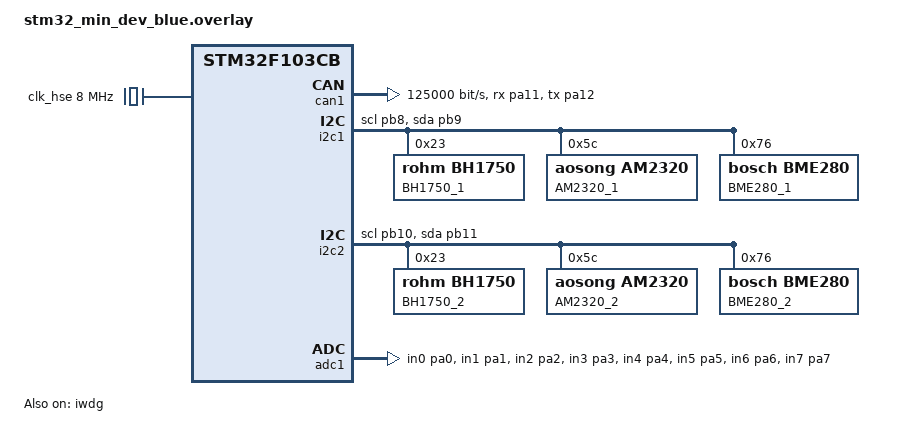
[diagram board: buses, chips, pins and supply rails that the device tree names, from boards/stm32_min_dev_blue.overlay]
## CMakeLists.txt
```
# Find Zephyr. This also loads Zephyr's build system.
cmake_minimum_required(VERSION 3.20.1)
find_package(Zephyr REQUIRED HINTS $ENV{ZEPHYR_BASE})
project(umdom_bluepill)
# Add your source file to the "app" target. This must come after
add_subdirectory(src/driver)

file(GLOB app_sources 
    src/*.c 
    src/objdict/CO_OD.c
    )

target_sources(app PRIVATE ${app_sources})
zephyr_include_directories(src/objdict)
```

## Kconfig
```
# SPDX-License-Identifier: Apache-2.0

# Your application configuration options go here


# Sources Kconfig.zephyr in the Zephyr root directory.
#
# Note: All 'source' statements work relative to the Zephyr root directory (due
# to the $srctree environment variable being set to $ZEPHYR_BASE). If you want
# to 'source' relative to the current Kconfig file instead, use 'rsource' (or a
# path relative to the Zephyr root).

config CANOPEN_NODE_ID
	int "CANopen node ID"
	default 10
	range 1 127
	help
	  7-bit CANopen Node ID

config SENSORS_UPDATE_TIME
	int "Sensors update time"
	default 1000
	help
	  Sensors update time measured in ms

config OUTPUT_UPDATE_TIME
	int "Output update time"
	default 100
	help
	  Output update time measured in ms

config ADCS_UPDATE_TIME
	int "ADCs update time"
	default 2000
	help
	  ADCs update time measured in ms

config DEBUG_LED
	bool "use PC13 LED for debug"
	default false
	help
	  PC13 LED for debug ADC AC 
      
menu "Umdom project: devices"
 rsource "src/driver/Kconfig"
endmenu

source "Kconfig.zephyr"
```

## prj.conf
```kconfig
CONFIG_SOC_STM32F103XB=y

CONFIG_CONSOLE=n

# log
CONFIG_LOG=y

# SHELL
CONFIG_SHELL=y
CONFIG_SHELL_CMDS=n
CONFIG_SHELL_STATS=n
CONFIG_SHELL_METAKEYS=n
CONFIG_SHELL_HELP=n
CONFIG_SHELL_CMD_BUFF_SIZE=128
CONFIG_SHELL_STACK_SIZE=1024
CONFIG_FLASH_MAP_SHELL=y
CONFIG_ADC_SHELL=n
CONFIG_CAN_SHELL=n
CONFIG_SHELL_BACKEND_CANOPEN=y

#SETTINGS STORAGE NVS
CONFIG_SETTINGS=y
CONFIG_FLASH=y
CONFIG_FLASH_MAP=y
CONFIG_NVS=y
CONFIG_SETTINGS_NVS=y

# DMA I2C CAN GPIO
CONFIG_GPIO=y
# CONFIG_DMA=y
CONFIG_CAN=y
CONFIG_CAN_MAX_FILTER=13
CONFIG_I2C=y

CONFIG_CANOPEN=y
CONFIG_CANOPENNODE=y
CONFIG_CANOPENNODE_SYNC_THREAD=y
CONFIG_CANOPENNODE_STORAGE=y
CONFIG_CANOPENNODE_LEDS=y
CONFIG_CANOPENNODE_LEDS_BICOLOR=y

# sensors
CONFIG_SENSOR=y
CONFIG_BME280=y
CONFIG_AM2320=y
CONFIG_BH1750=y
CONFIG_SENSORS_UPDATE_TIME=1000

# use Ac current driver
CONFIG_ADC=n
CONFIG_ADC_STM32=n
CONFIG_ADC_AC=y
CONFIG_ADC_ASYNC=y
CONFIG_ADC_STM32_AC_CURRENT=y
CONFIG_ADC_STM32_AC_CURRENT_SAMPLE_TIME=240

# boot reboot linker debug options
CONFIG_REBOOT=y
CONFIG_USE_DT_CODE_PARTITION=y
# CONFIG_DEBUG_OPTIMIZATIONS=y

#Zepthyr Kernel
CONFIG_NUM_COOP_PRIORITIES=8
CONFIG_NUM_PREEMPT_PRIORITIES=7
CONFIG_ISR_STACK_SIZE=512
CONFIG_IDLE_STACK_SIZE=128
CONFIG_MAIN_STACK_SIZE=512
# CONFIG_KERNEL_MEM_POOL=y
# CONFIG_HEAP_MEM_POOL_SIZE=128
```

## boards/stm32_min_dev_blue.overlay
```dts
/*
 * Copyright (c) 2019 Vestas Wind Systems A/S
 *
 * SPDX-License-Identifier: Apache-2.0
 */
 #include <st/f1/stm32f103XB.dtsi>
 #include <st/f1/stm32f103c(8-b)tx-pinctrl.dtsi>

/ {
	compatible = "st,stm32_min_dev_blue", "st,stm32f103cb";

	chosen {
		zephyr,can-primary = &can1;
		zephyr,code-partition = &slot0_partition;
	};

	// keys {
	// 	compatible = "gpio-keys";

	// 	key: key {
	// 		gpios = <&gpiob 12 GPIO_PULL_UP>;
	// 		label = "KEY";
	// 	};
	// };

	aliases {
		green-led = &led;
		red-led = &led;
		// sw0 = &key;
	};
};

&iwdg {
	status = "okay";
};

&clk_hse {
	clock-frequency = <DT_FREQ_M(8)>;
	status = "okay";
};

&pll {
	mul = <9>;
	clocks = <&clk_hse>;
	status = "okay";
};

&rcc {
	clocks = <&pll>;
	clock-frequency = <DT_FREQ_M(72)>;
	ahb-prescaler = <1>;
	apb1-prescaler = <2>;
	apb2-prescaler = <1>;
};

&usb {
	status = "disabled";
};

&flash0 {
	partitions {
			compatible = "fixed-partitions";
			#address-cells = <1>;
			#size-cells = <1>;

			slot0_partition: partition@0 {
				label = "image-0";
				reg = <0 0x1e000>;
			};
			// slot1_partition: partition@8010000 {
			// 	label = "image-1";
			// 	reg = <0x08010000 0x8000>;
			// };
			slot2_partition: partition@1e000 {
				label = "storage";
				reg = <0x1e000 0x2000>;
			};
	};
};

&can1 {
	pinctrl-0 = <&can_rx_pa11 &can_tx_pa12>;
	pinctrl-names = "default";
	sjw = < 1 >;
	
	prop-seg=< 0 >;
	phase-seg1= < 8 >;
	phase-seg2= < 3 >;
	// 1.000.000 pre=3  8,3
	// 800.000   pre=5  6,2
	// 500.000   pre=6  8,3
	// 250.000   pre=12 8,3
	// 125.000   pre=24 8,3
	//  50.000   pre=60 8,3
	bus-speed=<125000>;
	status = "okay";
};

&usart1 {
	status = "disabled";
};

&usart2 {
	status = "disabled";
};

&usart3 {
	status = "disabled";
};

&i2c1 {
	status = "okay";
	pinctrl-0 = <&i2c1_scl_pb8 &i2c1_sda_pb9>;
	bh1750: bh1750@23 {
		/* 0x5C - SDO <-> GND */
		/* 0x23 - SDO <-> VCC */
		compatible = "rohm,bh1750", "i2c-device";
		status = "okay";
		reg = <0x23>;
		label = "BH1750_1";
	};
	am2320: am2320@5c {
		compatible = "aosong,am2320", "i2c-device";
		status = "okay";
		reg = <0x5C>;
		label = "AM2320_1";
	};
	bme280: bme280@76 {
		/* 0x76 - SDO <-> GND */
		/* 0x77 - SDO <-> VCC */
		compatible = "bosch,bme280";
		status = "okay";
		reg = <0x76>;
		label = "BME280_1";
	};	
};

&i2c2 {
	status = "okay";
	pinctrl-0 = <&i2c2_scl_pb10 &i2c2_sda_pb11>;
	bh17501: bh1750@23 {
		/* 0x5C - SDO <-> GND */
		/* 0x23 - SDO <-> VCC */
		compatible = "rohm,bh1750", "i2c-device";
		status = "okay";
		reg = <0x23>;
		label = "BH1750_2";
	};
	am23201: am2320@5c {
		compatible = "aosong,am2320", "i2c-device";
		status = "okay";
		reg = <0x5C>;
		label = "AM2320_2";
	};
	bme2801: bme280@76 {
		/* 0x76 - SDO <-> GND */
		/* 0x77 - SDO <-> VCC */
		compatible = "bosch,bme280";
		status = "okay";
		reg = <0x76>;
		label = "BME280_2";
	};	
};

&spi1 {
	status = "disabled";
};

&spi2 {
	status = "disabled";
};

&pwm1 {
	status = "disabled";
};

&timers2 {
	status = "disabled";
};

&dma1{
	status = "disabled";
};

&adc1 {
	compatible = "st,stm32f1-adc1-ac", "st,stm32-adc";
	status = "okay";
	//dmas = < &dma1 1 1 0x22C80 0>;
	trigger = "tim2-cc2";
	pinctrl-0 = < &adc1_in0_pa0 >,
				< &adc1_in1_pa1 >,
				< &adc1_in2_pa2 >,
				< &adc1_in3_pa3 >,
				< &adc1_in4_pa4 >,
				< &adc1_in5_pa5 >,
				< &adc1_in6_pa6 >,
				< &adc1_in7_pa7 >,
				< &adc1_in8_pb0 >,
				< &adc1_in9_pb1 >;
};
```

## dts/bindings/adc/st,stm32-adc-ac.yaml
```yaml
# Copyright (c) 2018, Endre Karlson
# Copyright (c) 2018, Song Qiang <songqiang1304521@gmail.com>
# SPDX-License-Identifier: Apache-2.0

description: ST STM32F1x family ADC 50 Hz AC current mesure

compatible: "st,stm32f1-adc1-ac"

include: st,stm32-adc.yaml

properties:
    trigger:
      required: true
      type: string
      enum:
        - "tim1-cc1"
        - "tim1-cc2"
        - "tim1-cc3"
        - "tim2-cc2"
        - "tim4-cc4"
      description: |
        An external trigger is selected for ADC regular conversion, only the rising
        edge of the signal can start the conversion.  
        TIM1_CC1  event 000  tim1-cc1
        TIM1_CC2  event 001  tim1-cc2
        TIM1_CC3  event 010  tim1-cc3
        TIM2_CC2  event 011  tim2-cc2
        TIM3_TRGO event 100  tim3-trgo unsupports
        TIM4_CC4  event 101  tim4-cc4            
           trigger = "tim2-cc2";
```

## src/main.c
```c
#include <kernel.h>
#include <zephyr.h>
#include <power/reboot.h>
#include <drivers/gpio.h>
#include <drivers/i2c.h>
#include <shell/shell.h>
#include <shell/shell_uart.h>
#include <device.h>
#include <stdlib.h>
#include <devicetree.h>
#include <drivers/sensor.h>
#include <drivers/pwm.h>
#include "settings/settings.h"
#include <drivers/adc.h>
#include <kernel/thread.h>
#include <canopennode.h>
#include <drivers/watchdog.h>

#ifdef CONFIG_SHELL_BACKEND_CANOPEN
  #include "driver/shell/shell_canopen.h"
#endif
#include "process_sensor.h"
#include "process_adc.h"
#include "process_gpio.h"

#define LOG_LEVEL CONFIG_CANOPEN_LOG_LEVEL
#include <logging/log.h>
LOG_MODULE_REGISTER(app);

#if DT_HAS_COMPAT_STATUS_OKAY(st_stm32_watchdog)
#define WDT_NODE DT_INST(0, st_stm32_watchdog)
#define WDT_DEV_NAME DT_LABEL(WDT_NODE)
#else
#error "WDT not found"
#endif

#if !DT_HAS_CHOSEN(zephyr_can_primary)
# error CANopen CAN interface not set
#else 
#  define CAN_DT_NAME DT_CHOSEN(zephyr_can_primary)
#  define CAN_INTERFACE DT_LABEL(CAN_DT_NAME)
#  define CAN_BITRATE (DT_PROP(CAN_DT_NAME, bus_speed) / 1000)
#endif

static const struct device *green_led = DEVICE_DT_GET(DT_NODELABEL(gpioc));	

static void led_callback(bool value, void *arg)
{
	gpio_pin_set(green_led, 13, value);
}

void main(void)
{	
	CO_NMT_reset_cmd_t reset = CO_RESET_NOT;
	CO_ReturnError_t err;
	struct canopen_context can;
	uint16_t timeout;
	uint32_t elapsed;
	int64_t timestamp;
	const struct device *wdt;

#if (CONFIG_CANOPENNODE_LEDS || CONFIG_DEBUG_LED)  
    const struct device *led = device_get_binding("GPIOC");
	if (led == NULL) {
		/* No such node, or the node does not have status "okay". */
		LOG_ERR("GPIOC Error: no device found.");
	}
	gpio_pin_configure(led, 13, GPIO_OUTPUT_LOW);
#endif
	can.dev = device_get_binding(CAN_INTERFACE);
	if (!can.dev) {
		LOG_ERR("CAN interface not found");
		return;
	}
#ifdef CONFIG_CANOPENNODE_STORAGE
	int ret;
	ret = settings_subsys_init();
	if (ret) {
		LOG_ERR("failed to initialize settings subsystem (err = %d)", ret);
		return;
	}
	ret = settings_load();
	if (ret) {
		LOG_ERR("failed to load settings (err = %d)", ret);
		return;
	}
#endif /* CONFIG_CANOPEN_STORAGE */
	
	while (reset != CO_RESET_APP) 
	{
		elapsed =  0U; /* milliseconds */

		err = CO_init(&can, CONFIG_CANOPEN_NODE_ID, CAN_BITRATE);
		if (err != CO_ERROR_NO) {
			LOG_ERR("CO_init failed (err = %d)", err);
			return;
		}
		
		LOG_INF("CANopen stack initialized");

		#ifdef CONFIG_CANOPENNODE_STORAGE
		canopen_storage_attach(CO->SDO[0], CO->em);
		#endif /* CONFIG_CANOPEN_STORAGE */

		#if  ( CONFIG_CANOPENNODE_LEDS && !CONFIG_DEBUG_LED )
    	canopen_leds_init(CO->NMT, led_callback, NULL, NULL, NULL); 
		#endif /* CONFIG_CANOPEN_LEDS */


		#ifdef CONFIG_SHELL_BACKEND_CANOPEN
		shell_canopen_init_od();
		#endif
		sensors_init();
		adcs_init();
		gpios_init();

		CO->TPDO[4]->defaultCOB_ID = 0x1C0;
		CO->TPDO[4]->CANtxBuff->ident = 0x1C0 + CONFIG_CANOPEN_NODE_ID;
		CO->TPDO[5]->defaultCOB_ID = 0x2C0;
		CO->TPDO[5]->CANtxBuff->ident = 0x2C0 + CONFIG_CANOPEN_NODE_ID;
		CO->TPDO[6]->defaultCOB_ID = 0x3C0;
		CO->TPDO[6]->CANtxBuff->ident = 0x3C0 + CONFIG_CANOPEN_NODE_ID;

		CO_CANsetNormalMode(CO->CANmodule[0]);

		wdt = device_get_binding(WDT_DEV_NAME);
		if (wdt == NULL) {
			/* No such node, or the node does not have status "okay". */
			LOG_ERR("IWDT Error: no device found.");
		}


		while (true) {
			timeout = 1U; /* default timeout in milliseconds */
			timestamp = k_uptime_get();
			reset = CO_process(CO, (uint16_t)elapsed, &timeout);

			if (reset != CO_RESET_NOT) {
				break;
			}

			if (timeout > 0) {
				/*
				 * Try to sleep for as long as the
				 * stack requested and calculate the
				 * exact time elapsed.
				 */
				k_sleep(K_MSEC(timeout));
				uint16_t dt = (uint16_t) (k_uptime_get() - timestamp);

				if (OD_RTR)
				{
					for(uint8_t i=0; i<CO_NO_TPDO-1; i++)
					{
						CO->TPDO[i]->sendRequest = 1;
					}	
					CO_LOCK_OD();
					OD_RTR = 0;
					CO_UNLOCK_OD();
				}

				if (CO->SYNC->timer < CO->SYNC->periodTimeoutTime)
				{
					wdt_feed(wdt, 0);
					if (CO_isError(CO->em, CO_EM_SYNC_TIME_OUT))
						CO_errorReset(CO->em, CO_EM_SYNC_TIME_OUT, 0);
				}

				sensors_process(dt);
				adcs_process(dt);
				gpios_process(dt);
				#ifdef CONFIG_SHELL_BACKEND_CANOPEN
				process_shell();
				#endif

				elapsed = (uint32_t)k_uptime_delta(&timestamp);
			} else {
				/*
				 * Do not sleep, more processing to be
				 * done by the stack.
				 */
				elapsed = 0U;
			}
		} // while(true)

		if (reset == CO_RESET_COMM) {
			LOG_INF("Resetting communication");
		}
	} // while (reset != CO_RESET_APP) 

	LOG_INF("Resetting device");

	CO_delete(&can);
	sys_reboot(SYS_REBOOT_COLD);
}
```

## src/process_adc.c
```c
#include <kernel.h>
#include <zephyr.h>
#include <device.h>
#include <devicetree.h>
#include <drivers/adc.h>
#include <drivers/i2c.h>
#include <canopennode.h>


#define LOG_LEVEL CONFIG_CANOPEN_LOG_LEVEL
#include <logging/log.h>
LOG_MODULE_REGISTER(adcs);


static const struct device *adc;
static struct k_poll_signal async;
static struct k_poll_event  event = K_POLL_EVENT_INITIALIZER(
                                    K_POLL_TYPE_SIGNAL,
					                K_POLL_MODE_NOTIFY_ONLY,
					                &async);



static int16_t adcs[10] = {1,2,3,4,5,6,7,8,9,10};


static int channels_setup(uint16_t channels)
{
    struct adc_channel_cfg cf = {
        // .channel_id = id,
        .gain = ADC_GAIN_1,
        .reference = ADC_REF_INTERNAL,
        .acquisition_time = ADC_ACQ_TIME(ADC_ACQ_TIME_TICKS, CONFIG_ADC_STM32_AC_CURRENT_SAMPLE_TIME),
        .differential = 0,
    };
	uint8_t index = 0; 
    uint16_t tst = (channels & OD_configADC.availableMask) ^ channels;
    if (tst)
    {
        LOG_ERR("Error ADC ch: %x %x setup", channels, OD_configADC.availableMask);
        return -1;
    }
	while (channels)
	{
		if (channels & 1)
		{
            cf.channel_id = index;
            int ret = adc_channel_setup(adc, &cf);
            if (ret < 0)
            {
                LOG_ERR("Error ADC ch: %d setup", index);
                return ret;
            }
		}
		index++;
		channels >>= 1;
	}    
    return 0;
}

static void sample_fetch_odf6401(void)
{
    uint16_t channels = OD_configADC.cannelsMask;
    int16_t* pch = &OD_readAnalogueInput16Bit[0];
    int16_t* padc = &adcs[0];

    CO_LOCK_OD();

	while (channels)
	{
		if (channels & 1)
		{
            *pch = *padc++;
        }
		pch++;
		channels >>= 1;
	}    

    CO_UNLOCK_OD();
}

static CO_SDO_abortCode_t odf_2005(CO_ODF_arg_t *odf_arg)
{
    if (odf_arg->reading) {
		return CO_SDO_AB_NONE;
	}
    uint16_t value = CO_getUint16(odf_arg->data);
    switch(odf_arg->subIndex) {
        case 1:
           return channels_setup(value)?CO_SDO_AB_INVALID_VALUE:CO_SDO_AB_NONE; 
        break;
        case 2:
           return CO_SDO_AB_READONLY;
        break;
     }
     return CO_SDO_AB_SUB_UNKNOWN;
}

void adcs_init(void)
{
    adc = device_get_binding("ADC_1");

	if (adc == NULL) {
		LOG_ERR("ADC_1 Error: no device found.");
        return;
	}
    k_poll_signal_init(&async);

    channels_setup(OD_configADC.cannelsMask);

    CO_OD_configure(CO->SDO[0], OD_2005_configADC,  odf_2005, NULL, 0U, 0U); 
}

void adcs_process(uint16_t timeDifference_ms)
{
	if (adc == NULL) return;

    static uint16_t timer;
    timer += timeDifference_ms;

    if (k_poll(&event, 1, K_NO_WAIT) == 0)
    {
        sample_fetch_odf6401();
        event.signal->signaled = 0;
        event.state = K_POLL_STATE_NOT_READY;
    }
    

    if(timer >= CONFIG_ADCS_UPDATE_TIME){
        timer -= CONFIG_ADCS_UPDATE_TIME;

        struct adc_sequence sq = {
            .resolution = 12,
            .channels = OD_configADC.cannelsMask,
            .buffer = adcs,
            .buffer_size = sizeof(adcs),
        };
        if (event.state == K_POLL_STATE_NOT_READY)
        {
            event.state = K_POLL_STATE_CANCELLED;
            int ret = adc_read_async(adc, &sq, &async);
            if (ret < 0)
            {
		        LOG_ERR("ADC_1 Error: adc_read_async %d.", ret);
            }
        }
        
    }
}
```

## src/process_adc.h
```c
#ifndef APP_PROCESS_ADC_H
#define APP_PROCESS_ADC_H

void adcs_init(void);
void adcs_process(uint16_t timeDifference_ms);
#endif
```

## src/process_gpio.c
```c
#include <kernel.h>
#include <zephyr.h>
#include <device.h>
#include <devicetree.h>
#include <drivers/gpio.h>
#include <canopennode.h>


#define LOG_LEVEL CONFIG_CANOPEN_LOG_LEVEL
#include <logging/log.h>
LOG_MODULE_REGISTER(gpios);

// #define GPIO_INPUT_INT_EDGE (GPIO_INT_EDGE_BOTH | GPIO_INPUT)

struct gpio_conf {
    const uint16_t index;
	const struct device *dev;
	OD_configPort_t *od_conf;
    uint16_t* od_out; 
    uint16_t* od_inp; 
    uint16_t old_out;
    struct gpio_callback input_gpio_callback;
    struct k_work work;
};



static struct gpio_conf gpios[] = {
    {
        .index = 0x2002,
        .od_conf = &OD_configPort[0],
        .od_out = &OD_writeOutput16Bit[0],
        .od_inp = &OD_readInput16Bit[0],
    },
    {
        .index = 0x2003,
        .od_conf = &OD_configPort[1],
        .od_out = &OD_writeOutput16Bit[1],
        .od_inp = &OD_readInput16Bit[1],
    },
    {
        .index = 0x2004,
        .od_conf = &OD_configPort[2],
        .od_out = &OD_writeOutput16Bit[2],
        .od_inp = &OD_readInput16Bit[2],
    },
};

// 10000001 00000000    PA15 PA8
// 11110000 11111000    PB5-3v only
// 11000000 00000000    PC15-3v PC14-3v
// BBBBAACC BBBBB000 - pack gpios
static uint16_t abc_to_pack(uint16_t a,uint16_t b, uint16_t c)
{
    return (b & 0xF0F8) | ((c>>6) & 0x0300) | ((a<<2) & 0x0400) | ((a>>4) & 0x0800);
}
static void pack_to_abc(uint16_t pack, uint16_t* a,uint16_t* b, uint16_t* c)
{
    *b = pack & 0xF0F8;
    *c = (pack & 0x0300) << 6;
    *a = ((pack>>2) & 0x0100) | ((pack<<4) & 0x8000);
}
static inline void update_pack_iomask(void)
{
    uint16_t ma = gpios[0].od_conf->inputMask;
    uint16_t mb = gpios[1].od_conf->inputMask;
    uint16_t mc = gpios[2].od_conf->inputMask;
    OD_GPIOPack.inputMask = abc_to_pack(ma,mb,mc);
    LOG_INF("OD_GPIOPack.inputMask %x", OD_GPIOPack.inputMask);
    ma = gpios[0].od_conf->outputMask;
    mb = gpios[1].od_conf->outputMask;
    mc = gpios[2].od_conf->outputMask;
    OD_GPIOPack.outputMask = abc_to_pack(ma,mb,mc);
    LOG_INF("OD_GPIOPack.outputMask %x", OD_GPIOPack.outputMask);
}

static inline void update_pack_State(void)
{
    uint16_t a = *gpios[0].od_inp;
    uint16_t b = *gpios[1].od_inp;
    uint16_t c = *gpios[2].od_inp;
    OD_GPIOPack.state = abc_to_pack(a,b,c);
}

static void gpio_input_isr_callback(const struct device *port,
				struct gpio_callback *cb,
				uint32_t pins)
{
    struct gpio_conf* conf = CONTAINER_OF(cb, struct gpio_conf, input_gpio_callback);
 	k_work_submit(&conf->work);
}

static void gpio_input_work(struct k_work *item)
{
    struct gpio_conf *conf = CONTAINER_OF(item, struct gpio_conf, work);
    gpio_port_value_t v;
    gpio_port_get_raw(conf->dev, &v);
    CO_LOCK_OD();
    *conf->od_inp = (conf->od_conf->inputMask | conf->od_conf->outputMask) & v; // all input and output physical pin state
    CO_UNLOCK_OD();
    update_pack_State();
    // LOG_INF("Update input");
}    

static CO_SDO_abortCode_t odf_2080_GPIO_pack(CO_ODF_arg_t *odf_arg)
{
    if (!odf_arg->reading && (odf_arg->subIndex == 4)) 
    {
        if (OD_GPIOPack.setReset)
        {
            uint16_t pin[3];

            uint16_t set = OD_GPIOPack.setReset;

            if (set)
            {
                pack_to_abc(set, &pin[0], &pin[1], &pin[2]);
                for (size_t i = 0; i < 3; i++)
                {
                    if (pin[i])
                    {
                       gpio_port_set_bits_raw(gpios[i].dev, pin[i]); 
                       k_work_submit(&gpios[i].work);
                    }
                }
            }
            else 
            {
                uint16_t res = OD_GPIOPack.setReset >> 16;
                pack_to_abc(res, &pin[0], &pin[1], &pin[2]);
                for (size_t i = 0; i < 3; i++)
                {
                    if (pin[i])
                    {
                       gpio_port_clear_bits_raw(gpios[i].dev, pin[i]); 
                       k_work_submit(&gpios[i].work);
                    }
                }
            }
            CO_LOCK_OD();
            OD_GPIOPack.setReset = 0;
            CO_UNLOCK_OD();
        }
    }
    return CO_SDO_AB_NONE;    
}


static bool FlagUpdateODF;

static CO_SDO_abortCode_t odf_setup(CO_ODF_arg_t *odf_arg)
{
    struct gpio_conf *conf = odf_arg->object;

    if (odf_arg->reading) return CO_SDO_AB_NONE;

    uint16_t data = CO_getUint16(odf_arg->data);

    if (data & ~conf->od_conf->availableMask) return CO_SDO_AB_INVALID_VALUE;

    switch(odf_arg->subIndex) {
        case 2:
        /* Output Mask*/
          if (data & conf->od_conf->inputMask)
          {
              CO_LOCK_OD();
              conf->od_conf->inputMask &= ~data;
              CO_UNLOCK_OD();
          }
        break;
        case 3:
        /* Output Start Value*/
         if (data & ~conf->od_conf->outputMask) return CO_SDO_AB_INVALID_VALUE;        
        break;
        case 4:
        /* Input Mask*/
          if (data & conf->od_conf->outputMask)
          {
              CO_LOCK_OD();
              conf->od_conf->outputMask &= ~data;
              CO_UNLOCK_OD();
          }
        break;
        case 5:
        case 6:
        /* Input PullUp PullDown */
         if (data & ~conf->od_conf->inputMask) return CO_SDO_AB_INVALID_VALUE;        
        break;
        default: return CO_SDO_AB_READONLY;
    }
    FlagUpdateODF = true;
    return CO_SDO_AB_NONE;
}

static const struct device* gpio_init(struct gpio_conf *conf)
{
    conf->dev = device_get_binding(conf->od_conf->port);

    if (conf->dev)
    {
        for (gpio_pin_t pin = 0; pin < 16; pin++)
        {
            gpio_flags_t f;
            uint16_t mask = BIT(pin);   

            if (conf->od_conf->availableMask & mask)
            {
                if (conf->od_conf->outputMask & mask)    
                {
                    f = (conf->od_conf->outputStartValue & mask)?GPIO_OUTPUT_HIGH:GPIO_OUTPUT_LOW;
                }
                else if (conf->od_conf->inputMask & mask)     
                {
                    f = GPIO_INPUT | GPIO_INT_EDGE_BOTH;
                    if (conf->od_conf->inputPullUp & mask) f |= GPIO_PULL_UP;
                    else if(conf->od_conf->inputPullDown  & mask) f |= GPIO_PULL_DOWN;
                }
                else f = GPIO_DISCONNECTED;

                if (f)
                {
                    int err = gpio_pin_configure(conf->dev, pin, f);
                
                    if (err) {
                        LOG_ERR("failed to add input gpio pin configure %s", conf->dev->name);
                    }
                    if (f & GPIO_INT_ENABLE)
                    {
                        err = gpio_pin_interrupt_configure(conf->dev, pin, f);
                        if (err) {
                            LOG_ERR("failed to add input gpio interrupt configure %s %d %x err:%d", conf->dev->name, pin, f, err);
                        }
                        else{
                            LOG_INF("add input gpio interrupt %s %d %x", conf->dev->name, pin, f);
                        }
                    }
                }
            }         
        }   
        if (conf->od_conf->inputMask)
        {
            gpio_init_callback(&conf->input_gpio_callback, gpio_input_isr_callback, conf->od_conf->inputMask);

            gpio_remove_callback(conf->dev, &conf->input_gpio_callback);

            int err = gpio_add_callback(conf->dev, &conf->input_gpio_callback);

            if (err) {
                LOG_ERR("failed to add input gpio callback %s", conf->dev->name);
            }
        }
    }
    else
    {
        LOG_ERR("Error: GPIO device '%s' not found", conf->od_conf->port);
    }

    return conf->dev;
}

void gpios_init(void)
{
    struct gpio_conf *p = &gpios[0];

    CO_OD_configure(CO->SDO[0], 0x2080, odf_2080_GPIO_pack, NULL, 0U, 0U);

    for (size_t i = 0; i < ARRAY_SIZE(gpios); i++)
    {
        gpio_init(p);

        k_work_init(&p->work, gpio_input_work);

        CO_OD_configure(CO->SDO[0], p->index, odf_setup, p, 0U, 0U);

       	k_work_submit(&p->work);

        p++;
    }
    update_pack_iomask();    
}

void gpios_process(uint16_t timeDifference_ms)
{
    static uint16_t timer;
    timer += timeDifference_ms;

    if(timer >= CONFIG_OUTPUT_UPDATE_TIME){
        timer -= CONFIG_OUTPUT_UPDATE_TIME;

        struct gpio_conf* cf = &gpios[0];
        /* process outputs */
        for (size_t i = 0; i < ARRAY_SIZE(gpios); i++)
        {
            if (cf->dev)
            {
                uint16_t mask = cf->od_conf->outputMask;
                uint16_t old = cf->old_out;
                uint16_t new = *cf->od_out;

                if (old ^ new) 
                {
                    if (!(new & ~mask))
                    {
                        cf->old_out = new;
                        gpio_port_set_masked_raw(cf->dev, mask, new);
                    }
                    else
                    {
                        CO_LOCK_OD();
                        *cf->od_out = old;
                        CO_UNLOCK_OD();
                        
                        LOG_ERR("GPIO %s: Output Error OUT:%x OLD:%x MASK:%x.", cf->dev->name, new, old, mask);
                        // TODO: prepare CAN emergency message
                    }
                }
            }
            cf++;
        }

        if (FlagUpdateODF)
        {
            FlagUpdateODF = false;

            update_pack_iomask();
        }
    }    
}
```

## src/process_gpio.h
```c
#ifndef APP_PROCESS_GPIO_H
#define APP_PROCESS_GPIO_H

void gpios_init(void);
void gpios_process(uint16_t timeDifference_ms);
#endif
```

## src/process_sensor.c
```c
#include <kernel.h>
#include <zephyr.h>
#include <device.h>
#include <devicetree.h>
#include <drivers/sensor.h>
#include <drivers/i2c.h>
#include <canopennode.h>


#define LOG_LEVEL CONFIG_CANOPEN_LOG_LEVEL
#include <logging/log.h>
LOG_MODULE_REGISTER(sensor);


struct sensor_data{
	const struct device *dev;
	void  *od_data;
};

struct sensor_config {
	const char *name;
	const uint16_t od;
    int (* const sample_fetch) (const struct sensor_config* sens);
	struct sensor_data * const data;
};

#ifdef OD_2006_BH1750
   static struct sensor_data sd_2006_BH1750;
#endif
#ifdef OD_2007_BH1750
   static struct sensor_data sd_2007_BH1750;
#endif
#ifdef OD_2008_BH1750
   static struct sensor_data sd_2008_BH1750;
#endif
#ifdef OD_2009_BH1750
   static struct sensor_data sd_2009_BH1750;
#endif
#ifdef OD_200C_BME280
   static struct sensor_data sd_200C_BME280;
#endif
#ifdef OD_200D_BME280
   static struct sensor_data sd_200D_BME280;
#endif
#ifdef OD_200E_BME280
   static struct sensor_data sd_200E_BME280;
#endif
#ifdef OD_200F_BME280
   static struct sensor_data sd_200F_BME280;
#endif
#ifdef OD_200A_AM2320
   static struct sensor_data sd_200A_AM2320;
#endif
#ifdef OD_200B_AM2320
   static struct sensor_data sd_200B_AM2320;
#endif

static int sample_fetch_BH1750(const struct sensor_config * sens);
static int sample_fetch_BME280(const struct sensor_config * sens);
static int sample_fetch_AM2320(const struct sensor_config * sens);

static const struct sensor_config allSensor[] = {
#ifdef OD_2006_BH1750
    {
        .name="BH1750_1",
        .od=OD_2006_BH1750,
        .sample_fetch=sample_fetch_BH1750,
        .data = &sd_2006_BH1750
     },
#endif
#ifdef OD_2007_BH1750
    {
        .name="BH1750_2",
        .od=OD_2007_BH1750,
        .sample_fetch=sample_fetch1_BH1750,
        .data = &sd_2007_BH1750
     },
#endif
#ifdef OD_2008_BH1750
    {
        .name="BH1750_3",
        .od=OD_2008_BH1750,
        .sample_fetch=sample_fetch1_BH1750,
        .data = &sd_2008_BH1750
     },
#endif
#ifdef OD_2009_BH1750
    {
        .name="BH1750_4",
        .od=OD_2009_BH1750,
        .sample_fetch=sample_fetch_BH1750,
        .data = &sd_2009_BH1750
     },
#endif
#ifdef OD_200C_BME280
    {
        .name="BME280_1",
        .od=OD_200C_BME280,
        .sample_fetch=sample_fetch_BME280,
        .data = &sd_200C_BME280
     },
#endif
#ifdef OD_200D_BME280
    {
        .name="BME280_2",
        .od=OD_200D_BME280,
        .sample_fetch=sample_fetch_BME280,
        .data = &sd_200D_BME280
     },
#endif
#ifdef OD_200E_BME280
    {
        .name="BME280_3",
        .od=OD_200E_BME280,
        .sample_fetch=sample_fetch_BME280,
        .data = &sd_200E_BME280
     },
#endif
#ifdef OD_200F_BME280
    {
        .name="BME280_4",
        .od=OD_200F_BME280,
        .sample_fetch=sample_fetch_BME280,
        .data = &sd_200F_BME280
     },
#endif
#ifdef OD_200A_AM2320
    {
        .name="AM2320_1",
        .od=OD_200A_AM2320,
        .sample_fetch=sample_fetch_AM2320,
        .data = &sd_200A_AM2320
     },
#endif
#ifdef OD_200B_AM2320
    {
        .name="AM2320_2",
        .od=OD_200B_AM2320,
        .sample_fetch=sample_fetch_AM2320,
        .data = &sd_200B_AM2320
     },
#endif
};

struct i2cdev_conf {
	const struct device *bus;
};

static inline const struct i2cdev_conf *to_config(const struct device *dev)
{
	return dev->config;
}

static inline const struct device *to_bus(const struct device *dev)
{
	return to_config(dev)->bus;
}

static int sample_fetch(const struct sensor_config * sens)
{
    const struct device * d = sens->data->dev;
        if (d)
        {
            int err;
		    err = sensor_sample_fetch(d);
            if (err < 0)
            {
                LOG_ERR("Error: Device %s", sens->name);
                i2c_recover_bus(to_bus(d));
            }
            return err;
        }
        else return -1;
}

static int sample_fetch_BH1750(const struct sensor_config * sens)
{

    int ret = sample_fetch(sens);
    OD_BH1750_t *od = sens->data->od_data;
    const struct device * d = sens->data->dev;

    if (ret < 0){
        CO_LOCK_OD();
        od->lux = 0x8000;
        CO_UNLOCK_OD();
    }
    else {
        struct sensor_value lux;
	    sensor_channel_get(d, SENSOR_CHAN_LIGHT, &lux);
        CO_LOCK_OD();
        od->lux = lux.val1;
        CO_UNLOCK_OD();
    }
    return ret;
}

static int sample_fetch_BME280(const struct sensor_config * sens)
{

    int ret = sample_fetch(sens);
    OD_BME280_t *od = sens->data->od_data;
    const struct device * d = sens->data->dev;

    if (ret < 0){
        CO_LOCK_OD();
        od->temp = 0x80;
        od->humid = 0x80;
        od->press = 0x8000;
        CO_UNLOCK_OD();
    }
    else {
        struct sensor_value sv;
	    sensor_channel_get(d, SENSOR_CHAN_AMBIENT_TEMP, &sv);
        CO_LOCK_OD();
        od->temp = sv.val1;
        CO_UNLOCK_OD();
	    sensor_channel_get(d, SENSOR_CHAN_HUMIDITY, &sv);
        CO_LOCK_OD();
        od->humid = sv.val1;
        CO_UNLOCK_OD();
	    sensor_channel_get(d, SENSOR_CHAN_PRESS, &sv);
        int16_t press = (sv.val1*1000 + sv.val2/1000)/133;
        CO_LOCK_OD();
        od->press = press;
        CO_UNLOCK_OD();
    }
    return ret;
}

static int sample_fetch_AM2320(const struct sensor_config * sens)
{

    int ret = sample_fetch(sens);
    OD_AM2320_t *od = sens->data->od_data;
    const struct device * d = sens->data->dev;

    if (ret < 0){
        CO_LOCK_OD();
        od->temp = 0x80;
        od->humid = 0x80;
        CO_UNLOCK_OD();
    }
    else {
        struct sensor_value sv;
	    sensor_channel_get(d, SENSOR_CHAN_AMBIENT_TEMP, &sv);
        CO_LOCK_OD();
        od->temp = sv.val1;
        CO_UNLOCK_OD();
	    sensor_channel_get(d, SENSOR_CHAN_HUMIDITY, &sv);
        CO_LOCK_OD();
        od->humid = sv.val1;
        CO_UNLOCK_OD();
    }
    return ret;
}

static void check_dev(const struct sensor_config* sens,void *od_data)
{
    const struct device * d = device_get_binding(sens->name);
    sens->data->od_data = od_data;

	if (d == NULL) {
		// No such node, or the node does not have status "okay".
		LOG_ERR("%s Error: no device found.", sens->name);
	}
    else {
	    const struct device* bus = to_bus(d);

	    if (!device_is_ready(d)) {
		    LOG_ERR("Error: Device \"%s %s\" is not ready; "
                    "check the driver initialization logs for errors.",
		            d->name, bus->name);
	    }
	    LOG_DBG("Found device \"%s  %s\", getting sensor data\n", d->name, bus->name);
    }
    sens->data->dev = d;
    sens->sample_fetch(sens);
}


void sensors_init(void)
{     
    const struct sensor_config *sens = allSensor;

    #ifdef OD_BH1750   
        OD_BH1750_t* od_BH1750 = (OD_BH1750_t*) &OD_BH1750;
        while (sens->sample_fetch == sample_fetch_BH1750)
            check_dev(sens++, od_BH1750++);
    #endif
    #ifdef OD_BME280  
        OD_BME280_t* od_BME280 = (OD_BME280_t*) &OD_BME280;
        while (sens->sample_fetch == sample_fetch_BME280)
            check_dev(sens++, od_BME280++);
    #endif
    #ifdef OD_AM2320   
        OD_AM2320_t* od_AM2320 = (OD_AM2320_t*) &OD_AM2320;
        while (sens->sample_fetch == sample_fetch_AM2320)
            check_dev(sens++, od_AM2320++);
    #endif
}

void sensors_process(uint16_t timeDifference_ms)
{
    static uint16_t timer;
    static const struct sensor_config *sens;
    static int8_t index;

    timer += timeDifference_ms;
    if(timer >= CONFIG_SENSORS_UPDATE_TIME){
        timer -= CONFIG_SENSORS_UPDATE_TIME;
        sens = allSensor;
        index = ARRAY_SIZE(allSensor);
    }

    if (index)
    {
        sens->sample_fetch(sens);
        index--;
        sens++;
    }
}
```

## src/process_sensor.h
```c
#ifndef APP_PROCESS_SENSOR_H
#define APP_PROCESS_SENSOR_H

void sensors_init(void);
void sensors_process(uint16_t timeDifference_ms);
#endif
```
